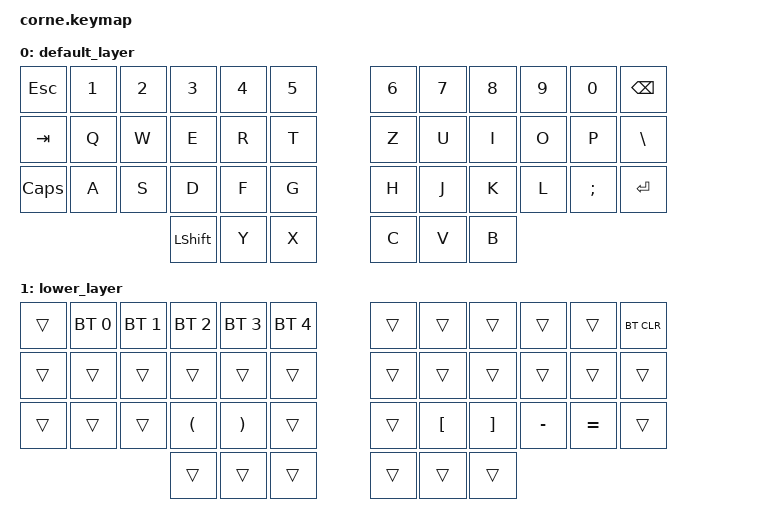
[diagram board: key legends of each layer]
#include <behaviors.dtsi>
#include <dt-bindings/zmk/bt.h>
#include <dt-bindings/zmk/keys.h>

/ {
    keymap {
        compatible = "zmk,keymap";

        default_layer {
            // ---------------------------------------------------------------------------------
            // |   `  |  1  |  2  |  3  |  4  |  5  |     |  6  |  7  |  8  |  9  |  0  | BKSP |
            // |  TAB |  Q  |  W  |  E  |  R  |  T  |     |  Y  |  U  |  I  |  O  |  P  |  \   |
            // | CAPS |  A  |  S  |  D  |  F  |  G  |     |  H  |  J  |  K  |  L  |  ;  |  ENT |
            // | SHFT |  Z  |  X  |  C  |  V  |  B  |     |  N  |  M  |  ,  |  .  |  /  | APOS |
            // | CTRL | ALT | GUI | SPC | SPC | SPC |     | SPC | LOW |LARW |DARW |UARW | RARW |

            bindings = <
&kp ESCAPE  &kp N1  &kp N2  &kp N3     &kp N4  &kp N5    &kp N6  &kp N7  &kp N8  &kp N9  &kp N0    &kp BSPC
&kp TAB     &kp Q   &kp W   &kp E      &kp R   &kp T     &kp Z   &kp U   &kp I   &kp O   &kp P     &kp BSLH
&kp CAPS    &kp A   &kp S   &kp D      &kp F   &kp G     &kp H   &kp J   &kp K   &kp L   &kp SEMI  &kp RET
                            &kp LSHFT  &kp Y   &kp X     &kp C   &kp V   &kp B
            >;
        };

        lower_layer {
            // ------------------------------------------------------------------------------------------------------------
            // |       |  BT1  |  BT2  |  BT3  |  BT4  |  BT5  |          |       |       |       |       |       | BTCLR |
            // |       |       |       |       |       |       |          |       |       |       |       |       |       |
            // |       |       |       | LPAR  | RPAR  |       |          |       | LBKT  | RBKT  |       |       |       |
            // |       |       |       |       |       |       |          |       |       |       |       |       |       |

            bindings = <
&trans  &bt BT_SEL 0  &bt BT_SEL 1  &bt BT_SEL 2  &bt BT_SEL 3  &bt BT_SEL 4    &trans  &trans    &trans    &trans     &trans     &bt BT_CLR
&trans  &trans        &trans        &trans        &trans        &trans          &trans  &trans    &trans    &trans     &trans     &trans
&trans  &trans        &trans        &kp LPAR      &kp RPAR      &trans          &trans  &kp LBKT  &kp RBKT  &kp MINUS  &kp EQUAL  &trans
                                    &trans        &trans        &trans          &trans  &trans    &trans
            >;
        };
    };
};
